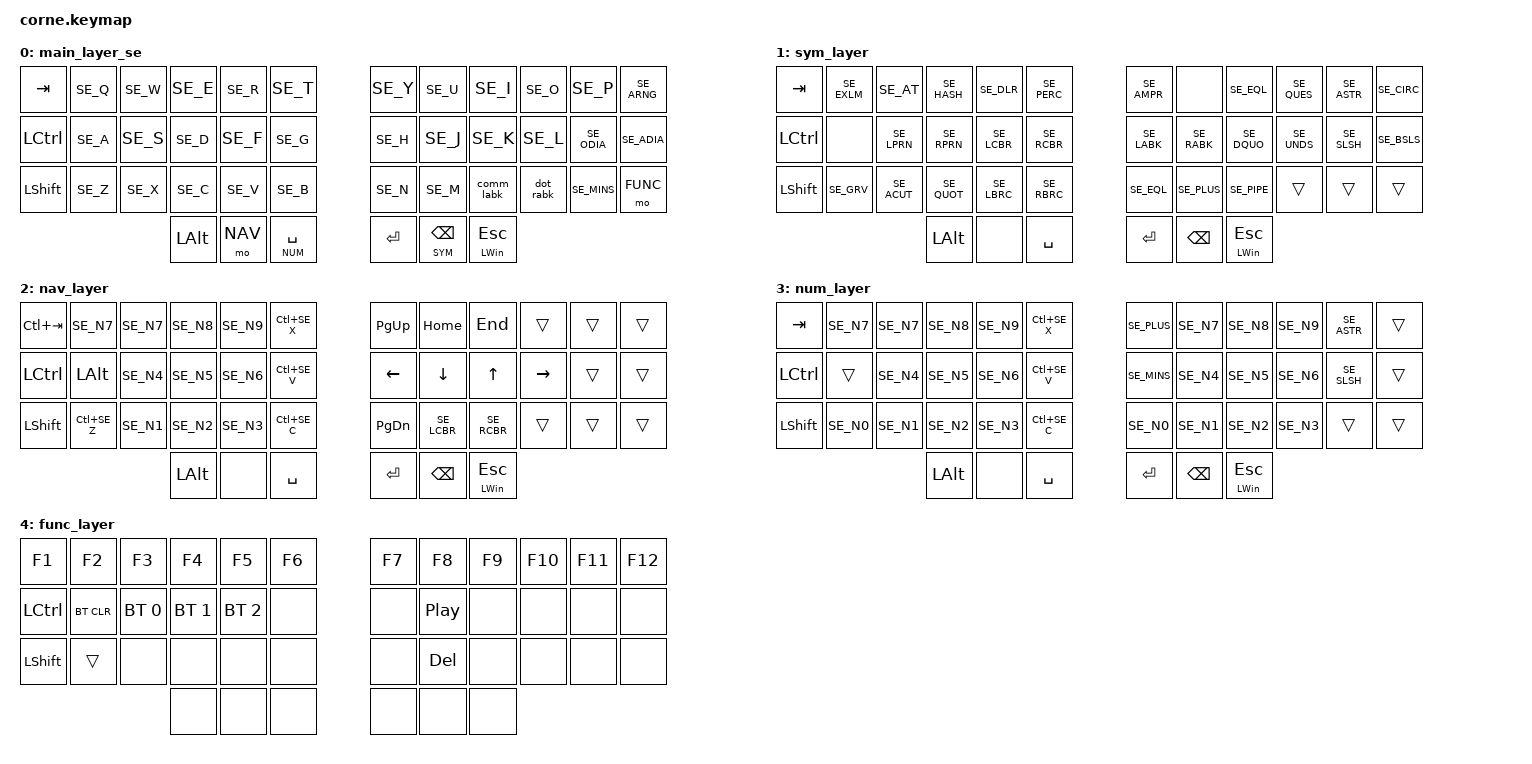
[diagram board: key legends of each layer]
/*
 * Copyright (c) 2020 The ZMK Contributors
 *
 * SPDX-License-Identifier: MIT
 *
 * Credits to https://github.com/bzgec/zmk-config
 */

#include <behaviors.dtsi>
#include <dt-bindings/zmk/keys.h>
#include <dt-bindings/zmk/bt.h>
#include <dt-bindings/zmk/ext_power.h>
#include "keys_se.h"

#define MAIN        0  // Main layer with SE layout
#define SYM         1  // Symbols layer, host layout: SE
#define NAV         2  // Navigation layer plus numpad
#define NUM         3  // Number layer
#define FUNC        4  // MEDIA and Bluetooth


// https://zmk.dev/docs/features/debouncing
&kscan0 {
    debounce-press-ms = <1>;    // Default is 5 ms
    debounce-release-ms = <4>;  // Default is 5 ms
};

&lt {
	flavor = "tap-preferred";
	tapping-term-ms = <200>;
	};
&mt { 
	flavor = "tap-preferred";
	tapping-term-ms = <200>;
	};

/ {

    behaviors {
        #include "behaviors_mod_morph.dtsi"
    };

    keymap {
        compatible = "zmk,keymap"; 

        main_layer_se {
bindings = <
     // ╭─────────────┬─────────────┬─────────────┬─────────────┬─────────────┬─────────────╮                 ╭─────────────┬─────────────┬─────────────┬─────────────┬─────────────┬─────────────╮
          &kp TAB         &kp SE_Q      &kp SE_W     &kp SE_E      &kp SE_R      &kp SE_T                        &kp SE_Y      &kp SE_U      &kp SE_I      &kp SE_O     &kp SE_P      &kp SE_ARNG
     // ├─────────────┼─────────────┼─────────────┼─────────────┼─────────────┼─────────────┤                 ├─────────────┼─────────────┼─────────────┼─────────────┼─────────────┼─────────────┤
          &kp LCTRL       &kp SE_A      &kp SE_S     &kp SE_D      &kp SE_F      &kp SE_G                        &kp SE_H      &kp SE_J      &kp SE_K      &kp SE_L     &kp SE_ODIA   &kp SE_ADIA
     // ├─────────────┼─────────────┼─────────────┼─────────────┼─────────────┼─────────────┤                 ├─────────────┼─────────────┼─────────────┼─────────────┼─────────────┼─────────────┤
          &kp LSHFT       &kp SE_Z      &kp SE_X     &kp SE_C      &kp SE_V      &kp SE_B                        &kp SE_N      &kp SE_M      &comm_labk    &dot_rabk    &kp SE_MINS   &mo FUNC
     // ╰─────────────┼─────────────┼─────────────┼─────────────┼─────────────┼─────────────┤                 ├─────────────┼─────────────┼─────────────┼─────────────┼─────────────┼─────────────┤
                                      &kp LALT       &mo NAV     &lt NUM SPACE                                   &kp RET  &lt SYM BACKSPACE  &mt LWIN ESC
     //                             ╰─────────────┴─────────────┴─────────────╯                               ╰─────────────┴─────────────┴─────────────╯
            >;
        };

      sym_layer {
bindings = <
     // ╭─────────────┬─────────────┬─────────────┬─────────────┬─────────────┬─────────────╮                 ╭─────────────┬─────────────┬─────────────┬─────────────┬─────────────┬─────────────╮
          &kp TAB       &kp SE_EXLM   &kp SE_AT     &kp SE_HASH   &kp SE_DLR    &kp SE_PERC                     &kp SE_AMPR     &none       &kp SE_EQL    &kp SE_QUES   &kp SE_ASTR   &kp SE_CIRC
     // ├─────────────┼─────────────┼─────────────┼─────────────┼─────────────┼─────────────┤                 ├─────────────┼─────────────┼─────────────┼─────────────┼─────────────┼─────────────┤
          &kp LCTRL      &none        &kp SE_LPRN   &kp SE_RPRN   &kp SE_LCBR   &kp SE_RCBR                     &kp SE_LABK   &kp SE_RABK   &kp SE_DQUO   &kp SE_UNDS   &kp SE_SLSH   &kp SE_BSLS   
     // ├─────────────┼─────────────┼─────────────┼─────────────┼─────────────┼─────────────┤                 ├─────────────┼─────────────┼─────────────┼─────────────┼─────────────┼─────────────┤
          &kp LSHIFT    &kp SE_GRV    &kp SE_ACUT   &kp SE_QUOT   &kp SE_LBRC   &kp SE_RBRC                     &kp SE_EQL    &kp SE_PLUS   &kp SE_PIPE    &trans         &trans       &trans
     // ╰─────────────┼─────────────┼─────────────┼─────────────┼─────────────┼─────────────┤                 ├─────────────┼─────────────┼─────────────┼─────────────┼─────────────┼─────────────┤
                                      &kp LALT       &none        &kp SPACE                                      &kp RET     &kp BACKSPACE  &mt LWIN ESC
     //                             ╰─────────────┴─────────────┴─────────────╯                               ╰─────────────┴─────────────┴─────────────╯
            >;
        };

      nav_layer {
bindings = <
     // ╭─────────────┬─────────────┬─────────────┬─────────────┬─────────────┬─────────────╮                 ╭─────────────┬─────────────┬─────────────┬─────────────┬─────────────┬─────────────╮
          &kp LC(TAB)    &kp SE_N7     &kp SE_N7    &kp SE_N8     &kp SE_N9     &kp LC(SE_X)                     &kp PG_UP     &kp HOME     &kp END        &trans        &trans         &trans
     // ├─────────────┼─────────────┼─────────────┼─────────────┼─────────────┼─────────────┤                 ├─────────────┼─────────────┼─────────────┼─────────────┼─────────────┼─────────────┤
          &kp LCTRL      &kp LALT      &kp SE_N4    &kp SE_N5     &kp SE_N6     &kp LC(SE_V)                     &kp LEFT      &kp DOWN     &kp UP         &kp RIGHT     &trans         &trans   
     // ├─────────────┼─────────────┼─────────────┼─────────────┼─────────────┼─────────────┤                 ├─────────────┼─────────────┼─────────────┼─────────────┼─────────────┼─────────────┤
          &kp LSHIFT    &kp LC(SE_Z)   &kp SE_N1    &kp SE_N2     &kp SE_N3     &kp LC(SE_C)                     &kp PG_DN    &kp SE_LCBR   &kp SE_RCBR    &trans        &trans        &trans
     // ╰─────────────┼─────────────┼─────────────┼─────────────┼─────────────┼─────────────┤                 ├─────────────┼─────────────┼─────────────┼─────────────┼─────────────┼─────────────┤
                                      &kp LALT      &none         &kp SPACE                                      &kp RET     &kp BACKSPACE  &mt LWIN ESC
     //                             ╰─────────────┴─────────────┴─────────────╯                               ╰─────────────┴─────────────┴─────────────╯
            >;
        };

      num_layer {
bindings = <
     // ╭─────────────┬─────────────┬─────────────┬─────────────┬─────────────┬─────────────╮                 ╭─────────────┬─────────────┬─────────────┬─────────────┬─────────────┬─────────────╮
          &kp TAB        &kp SE_N7     &kp SE_N7    &kp SE_N8     &kp SE_N9     &kp LC(SE_X)                     &kp SE_PLUS   &kp SE_N7    &kp SE_N8      &kp SE_N9    &kp SE_ASTR     &trans
     // ├─────────────┼─────────────┼─────────────┼─────────────┼─────────────┼─────────────┤                 ├─────────────┼─────────────┼─────────────┼─────────────┼─────────────┼─────────────┤
          &kp LCTRL      &trans        &kp SE_N4    &kp SE_N5     &kp SE_N6     &kp LC(SE_V)                     &kp SE_MINS   &kp SE_N4    &kp SE_N5      &kp SE_N6    &kp SE_SLSH     &trans   
     // ├─────────────┼─────────────┼─────────────┼─────────────┼─────────────┼─────────────┤                 ├─────────────┼─────────────┼─────────────┼─────────────┼─────────────┼─────────────┤
          &kp LSHIFT     &kp SE_N0     &kp SE_N1    &kp SE_N2     &kp SE_N3     &kp LC(SE_C)                     &kp SE_N0     &kp SE_N1    &kp SE_N2      &kp SE_N3     &trans         &trans
     // ╰─────────────┼─────────────┼─────────────┼─────────────┼─────────────┼─────────────┤                 ├─────────────┼─────────────┼─────────────┼─────────────┼─────────────┼─────────────┤
                                      &kp LALT      &none         &kp SPACE                                      &kp RET     &kp BACKSPACE  &mt LWIN ESC
     //                             ╰─────────────┴─────────────┴─────────────╯                               ╰─────────────┴─────────────┴─────────────╯
            >;
        };
        


              func_layer {
bindings = <
     // ╭─────────────┬─────────────┬─────────────┬─────────────┬─────────────┬─────────────╮                 ╭─────────────┬─────────────┬─────────────┬─────────────┬─────────────┬─────────────╮
          &kp F1         &kp F2        &kp F3        &kp F4         &kp F5       &kp F6                          &kp F7        &kp F8         &kp F9       &kp F10        &kp F11      &kp F12
     // ├─────────────┼─────────────┼─────────────┼─────────────┼─────────────┼─────────────┤                 ├─────────────┼─────────────┼─────────────┼─────────────┼─────────────┼─────────────┤
          &kp LCTRL     &bt BT_CLR   &bt BT_SEL 0   &bt BT_SEL 1  &bt BT_SEL 2   &none                           &none         &kp C_PP      &none          &none         &none        &none   
     // ├─────────────┼─────────────┼─────────────┼─────────────┼─────────────┼─────────────┤                 ├─────────────┼─────────────┼─────────────┼─────────────┼─────────────┼─────────────┤
          &kp LSHIFT     &trans        &none         &none          &none        &none                           &none         &kp DEL       &none          &none         &none         &none
     // ╰─────────────┼─────────────┼─────────────┼─────────────┼─────────────┼─────────────┤                 ├─────────────┼─────────────┼─────────────┼─────────────┼─────────────┼─────────────┤
                                       &none         &none          &none                                         &none         &none         &none
     //                             ╰─────────────┴─────────────┴─────────────╯                               ╰─────────────┴─────────────┴─────────────╯
            >;
        };
    };
};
